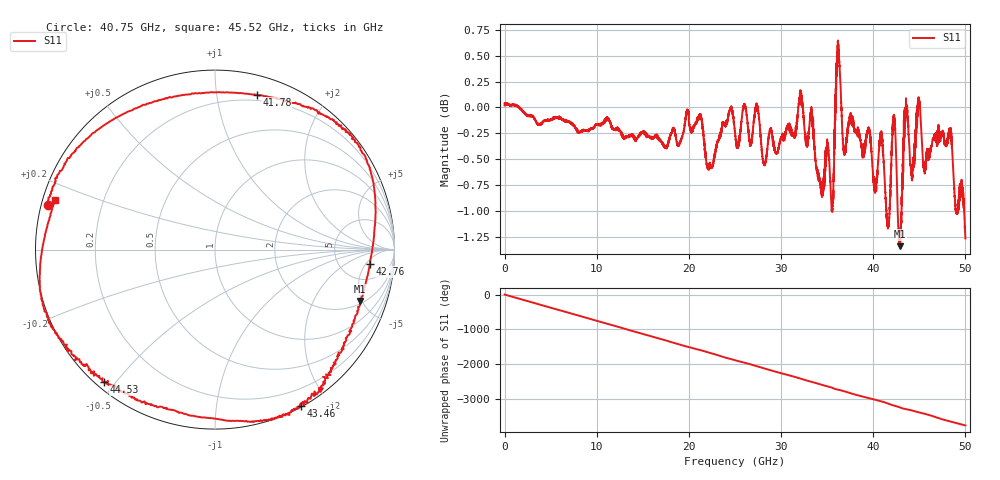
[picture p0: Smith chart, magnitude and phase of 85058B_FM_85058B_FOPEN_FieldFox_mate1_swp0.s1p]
!Created with skrf (http://scikit-rf.org).
# Hz S RI R 50.0
!freq ReS11 ImS11
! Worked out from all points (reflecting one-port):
!   10001 points, 300 kHz to 50 GHz, reference 50 ohm
!   lowest |S11| = -1.3 dB at 42.9 GHz (marker M1), VSWR 12.99, Z = 112 - j241 ohm
!   phase of S11 starts at 0 deg and turns -3778 deg over the sweep
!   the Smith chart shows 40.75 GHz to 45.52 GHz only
!   S11 on the Smith chart (normalised r, x): 40.75 GHz: 0.02, +0.13; 41.78 GHz: 0.15, +1.29; 42.76 GHz: 10, -6; 43.46 GHz: 0.01, -1.69; 44.53 GHz: 0.02, -0.47; 45.52 GHz: 0.04, +0.15
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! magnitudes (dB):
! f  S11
! 300 kHz  0.0
! 6.25 GHz  -0.1
! 12.5 GHz  -0.2
! 18.75 GHz  -0.4
! 21.17 GHz  -0.1
! 22.28 GHz  -0.6
! 25 GHz  -0.2
! 31.25 GHz  -0.2
! 32.16 GHz  0.2
! 35.5 GHz  -1.0
! 36.18 GHz  0.6
! 36.84 GHz  -0.4
! 37.5 GHz  -0.1
! 39.53 GHz  -0.2
! 40.2 GHz  -0.8
! 40.75 GHz  -0.3
! 41.78 GHz  -1.0
! 42.25 GHz  -0.1
! 42.76 GHz  -1.2
! 42.9 GHz  -1.3
! 43.46 GHz  -0.1
! 43.75 GHz  -0.1
! 44.53 GHz  -0.3
! 44.96 GHz  0.0
! 45.52 GHz  -0.6
! 48.31 GHz  -0.2
! 48.98 GHz  -1.0
! 50 GHz  -1.3
